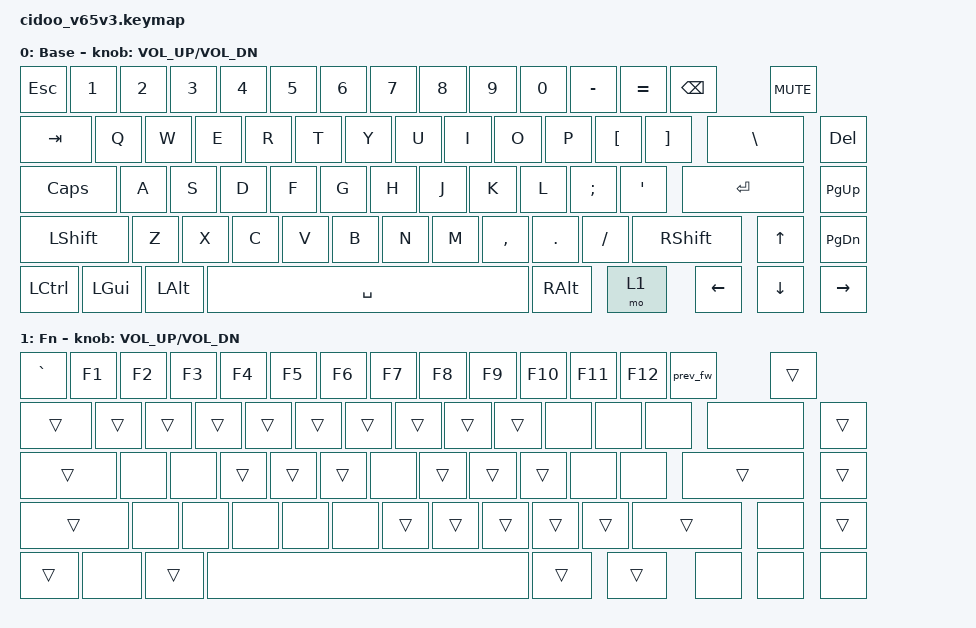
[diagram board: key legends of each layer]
/*
 * SPDX-License-Identifier: GPL-3.0-or-later
 */

/*
 * CIDOO V65 V3 default keymap.
 * Generated by gen_v65v3.py from the original keymap's layers 0 (Base) and 1 (Fn).
 * Original knob: left = &kp C_VOL_DN, right = &kp C_VOL_UP, press = 0,14.
 */

#include <behaviors.dtsi>
#include <dt-bindings/zmk/keys.h>

/ {
    keymap {
        compatible = "zmk,keymap";

        base_layer {
            display-name = "Base";
            bindings = <
                &kp ESC         &kp N1          &kp N2          &kp N3          &kp N4          &kp N5          &kp N6          &kp N7          &kp N8          &kp N9          &kp N0          &kp MINUS       &kp EQUAL       &kp BSPC        &kp C_MUTE
                &kp TAB         &kp Q           &kp W           &kp E           &kp R           &kp T           &kp Y           &kp U           &kp I           &kp O           &kp P           &kp LBKT        &kp RBKT        &kp BSLH        &kp DEL
                &kp CAPS        &kp A           &kp S           &kp D           &kp F           &kp G           &kp H           &kp J           &kp K           &kp L           &kp SEMI        &kp SQT         &kp RET         &kp PG_UP
                &kp LSHFT       &kp Z           &kp X           &kp C           &kp V           &kp B           &kp N           &kp M           &kp COMMA       &kp DOT         &kp FSLH        &kp RSHFT       &kp UP          &kp PG_DN
                &kp LCTRL       &kp LGUI        &kp LALT        &kp SPACE       &kp RALT        &mo 1           &kp LEFT        &kp DOWN        &kp RIGHT
            >;
            sensor-bindings = <&inc_dec_kp C_VOL_UP C_VOL_DN>;
        };

        fn_layer {
            /* Original bindings left out (matrix row,col):
             *   2,10: RGB_HUI (no RGB yet)
             *   2,11: RGB_SAI (no RGB yet)
             *   2,12: RGB_MOD (no RGB yet)
             *   2,13: RGB_TOG (no RGB yet)
             *   3,1: WIN MODE (original firmware only)
             *   3,2: MAC MODE (original firmware only)
             *   3,6: DESKTOP LIGHT LOW (original firmware only)
             *   3,10: RGB_HUD (no RGB yet)
             *   3,11: RGB_SAD (no RGB yet)
             *   4,2: Bluetooth 1 (original firmware only)
             *   4,3: Bluetooth 2 (original firmware only)
             *   4,4: Bluetooth 3 (original firmware only)
             *   4,5: 2.4G MODE (original firmware only)
             *   4,6: KEY SCAN DELAY (original firmware only)
             *   4,13: RGB_VAI (no RGB yet)
             *   5,1: LOCK WIN KEY (original firmware only)
             *   5,6: USB MODE (original firmware only)
             *   5,12: RGB_SPD (no RGB yet)
             *   5,13: RGB_VAD (no RGB yet)
             *   5,14: RGB_SPI (no RGB yet)
             */
            display-name = "Fn";
            bindings = <
                &kp GRAVE       &kp F1          &kp F2          &kp F3          &kp F4          &kp F5          &kp F6          &kp F7          &kp F8          &kp F9          &kp F10         &kp F11         &kp F12         &prev_fw        &trans
                &trans          &trans          &trans          &trans          &trans          &trans          &trans          &trans          &trans          &trans          &none           &none           &none           &none           &trans
                &trans          &none           &none           &trans          &trans          &trans          &none           &trans          &trans          &trans          &none           &none           &trans          &trans
                &trans          &none           &none           &none           &none           &none           &trans          &trans          &trans          &trans          &trans          &trans          &none           &trans
                &trans          &none           &trans          &none           &trans          &trans          &none           &none           &none
            >;
            sensor-bindings = <&inc_dec_kp C_VOL_UP C_VOL_DN>;
        };
    };
};

/* Not on these keyboards: &sys_reset only reboots (settings stay), and &bootloader has no
 * bootloader to enter (firmware updates go through the update tool). */
&sys_reset {
	status = "disabled";
};

&bootloader {
	status = "disabled";
};
